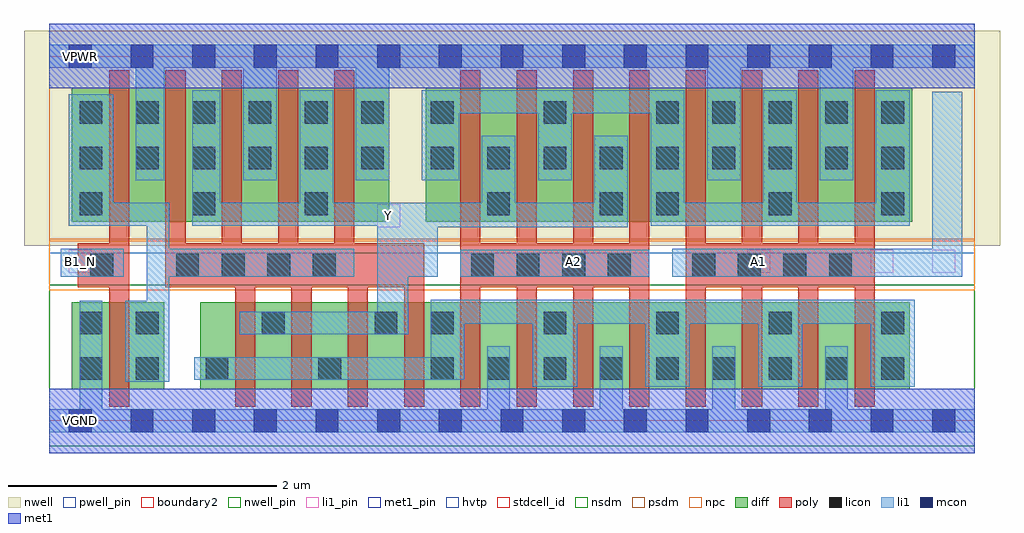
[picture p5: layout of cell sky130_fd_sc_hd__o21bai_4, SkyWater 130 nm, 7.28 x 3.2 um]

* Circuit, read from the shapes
.subckt sky130_fd_sc_hd__o21bai_4 A1 A2 B1_N VGND VNB VPB VPWR Y
XM1 n1 B1_N VGND VNB sky130_fd_pr__nfet_01v8 w=0.65 l=0.15
XM2 Y n1 n2 VNB sky130_fd_pr__nfet_01v8 w=0.65 l=0.15 m=4
XM3 VGND A2 n2 VNB sky130_fd_pr__nfet_01v8 w=0.65 l=0.15 m=4
XM4 VGND A1 n2 VNB sky130_fd_pr__nfet_01v8 w=0.65 l=0.15 m=4
XM5 VPWR B1_N n1 VPB sky130_fd_pr__pfet_01v8_hvt w=1 l=0.15
XM6 Y n1 VPWR VPB sky130_fd_pr__pfet_01v8_hvt w=1 l=0.15 m=4
XM7 Y A2 n3 VPB sky130_fd_pr__pfet_01v8_hvt w=1 l=0.15 m=4
XM8 VPWR A1 n3 VPB sky130_fd_pr__pfet_01v8_hvt w=1 l=0.15 m=4
.ends

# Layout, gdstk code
import gdstk
lib = gdstk.Library(unit=1e-6, precision=1e-09)
def R(c, l, rs):  # rectangles x0, y0, x1, y1
    for r in rs: c.add(gdstk.rectangle(r[:2], r[2:], *l))
def A(c, l, x, y, w, h, nx, ny, dx, dy):  # array of equal rectangles
    R(c, l, [(x+i*dx, y+j*dy, x+i*dx+w, y+j*dy+h) for i in range(nx) for j in range(ny)])
def P(c, l, *ps):  # polygons
    for p in ps: c.add(gdstk.Polygon(p, *l))
nwell_pin = (64, 16)
nwell = (64, 20)
diff = (65, 20)
poly = (66, 20)
licon = (66, 44)
li1_pin = (67, 16)
li1 = (67, 20)
mcon = (67, 44)
met1_pin = (68, 16)
met1 = (68, 20)
hvtp = (78, 44)
stdcell_id = (81, 4)
nsdm = (93, 44)
psdm = (94, 20)
npc = (95, 20)
pwell_pin = (122, 16)
boundary2 = (236, 0)

sky130_fd_sc_hd__o21bai_ = lib.new_cell('sky130_fd_sc_hd__o21bai_4')
R(sky130_fd_sc_hd__o21bai_, nwell_pin, [(0.145,2.635,0.315,2.805)])
R(sky130_fd_sc_hd__o21bai_, nwell, [(-0.19,1.305,7.09,2.91)])
R(sky130_fd_sc_hd__o21bai_, diff, [(0.165,0.235,0.855,0.885), (1.125,0.235,6.415,0.885), (0.165,1.485,2.535,2.485), (2.805,1.485,6.435,2.485)])
P(sky130_fd_sc_hd__o21bai_, poly, [(1.385,0.105),(1.385,0.995),(0.865,0.995),(0.865,2.615),(1.015,2.615),(1.015,1.325),(1.285,1.325),(1.285,2.615),(1.435,2.615),(1.435,1.325),(1.705,1.325),(1.705,2.615),(1.855,2.615),(1.855,1.325),(2.125,1.325),(2.125,2.615),(2.275,2.615),(2.275,1.325),(2.795,1.325),(2.795,0.105),(2.645,0.105),(2.645,0.995),(2.375,0.995),(2.375,0.105),(2.225,0.105),(2.225,0.995),(1.955,0.995),(1.955,0.105),(1.805,0.105),(1.805,0.995),(1.535,0.995),(1.535,0.105)],
  [(0.445,0.105),(0.445,0.995),(0.21,0.995),(0.21,1.325),(0.445,1.325),(0.445,2.615),(0.595,2.615),(0.595,0.105)],
  [(3.065,0.105),(3.065,2.615),(3.215,2.615),(3.215,1.325),(3.485,1.325),(3.485,2.615),(3.635,2.615),(3.635,1.325),(3.905,1.325),(3.905,2.615),(4.055,2.615),(4.055,1.325),(4.325,1.325),(4.325,2.615),(4.475,2.615),(4.475,0.105),(4.325,0.105),(4.325,0.995),(4.055,0.995),(4.055,0.105),(3.905,0.105),(3.905,0.995),(3.635,0.995),(3.635,0.105),(3.485,0.105),(3.485,0.995),(3.215,0.995),(3.215,0.105)],
  [(4.745,0.105),(4.745,2.615),(4.895,2.615),(4.895,1.325),(5.165,1.325),(5.165,2.615),(5.315,2.615),(5.315,1.325),(5.585,1.325),(5.585,2.615),(5.735,2.615),(5.735,1.325),(6.005,1.325),(6.005,2.615),(6.155,2.615),(6.155,0.105),(6.005,0.105),(6.005,0.995),(5.735,0.995),(5.735,0.105),(5.585,0.105),(5.585,0.995),(5.315,0.995),(5.315,0.105),(5.165,0.105),(5.165,0.995),(4.895,0.995),(4.895,0.105)])
A(sky130_fd_sc_hd__o21bai_, licon, 1.165, 0.305, 0.17, 0.17, 3, 1, 0.84, 0)
A(sky130_fd_sc_hd__o21bai_, licon, 3.265, 0.305, 0.17, 0.17, 8, 1, 0.42, 0)
A(sky130_fd_sc_hd__o21bai_, licon, 2.845, 0.645, 0.17, 0.17, 5, 1, 0.84, 0)
A(sky130_fd_sc_hd__o21bai_, licon, 0.945, 1.075, 0.17, 0.17, 4, 1, 0.34, 0)
A(sky130_fd_sc_hd__o21bai_, licon, 3.145, 1.075, 0.17, 0.17, 4, 1, 0.34, 0)
A(sky130_fd_sc_hd__o21bai_, licon, 4.795, 1.075, 0.17, 0.17, 4, 1, 0.34, 0)
A(sky130_fd_sc_hd__o21bai_, licon, 0.225, 1.535, 0.17, 0.17, 3, 1, 0.84, 0)
A(sky130_fd_sc_hd__o21bai_, licon, 4.525, 1.535, 0.17, 0.17, 3, 1, 0.84, 0)
A(sky130_fd_sc_hd__o21bai_, licon, 0.225, 1.875, 0.17, 0.17, 6, 2, 0.42, 0.34)
A(sky130_fd_sc_hd__o21bai_, licon, 2.845, 1.875, 0.17, 0.17, 9, 1, 0.42, 0)
A(sky130_fd_sc_hd__o21bai_, licon, 2.845, 2.215, 0.17, 0.17, 3, 1, 0.84, 0)
A(sky130_fd_sc_hd__o21bai_, licon, 4.945, 2.215, 0.17, 0.17, 4, 1, 0.42, 0)
R(sky130_fd_sc_hd__o21bai_, licon, [(0.225,0.305,0.395,0.475), (0.645,0.305,0.815,0.475), (0.225,0.645,0.395,0.815), (0.645,0.645,0.815,0.815), (1.585,0.645,1.755,0.815), (2.425,0.645,2.595,0.815), (0.305,1.075,0.475,1.245), (3.265,1.535,3.435,1.705), (4.105,1.535,4.275,1.705)])
R(sky130_fd_sc_hd__o21bai_, li1_pin, [(0.145,1.105,0.315,1.275), (3.825,1.105,3.995,1.275), (5.205,1.105,5.375,1.275), (6.125,1.105,6.295,1.275), (6.585,1.105,6.755,1.275), (2.445,1.445,2.615,1.615)])
R(sky130_fd_sc_hd__o21bai_, li1, [(0.085,1.075,0.555,1.285), (3.065,1.075,4.475,1.275)])
P(sky130_fd_sc_hd__o21bai_, li1, [(4.645,1.075),(4.645,1.285),(6.585,1.285),(6.585,2.455),(6.81,2.455),(6.81,1.075)],
  [(3.605,0.255),(3.605,0.725),(3.095,0.725),(3.095,0.305),(1.08,0.305),(1.08,0.475),(2.845,0.475),(2.845,0.905),(6.455,0.905),(6.455,0.255),(6.125,0.255),(6.125,0.725),(5.615,0.725),(5.615,0.255),(5.285,0.255),(5.285,0.725),(4.775,0.725),(4.775,0.255),(4.445,0.255),(4.445,0.725),(3.935,0.725),(3.935,0.255)],
  [(4.485,1.455),(4.485,2.295),(3.895,2.295),(3.895,1.795),(3.645,1.795),(3.645,2.295),(3.055,2.295),(3.055,1.795),(2.775,1.795),(2.775,2.465),(4.735,2.465),(4.735,1.625),(5.325,1.625),(5.325,2.465),(5.575,2.465),(5.575,1.625),(6.165,1.625),(6.165,2.465),(6.415,2.465),(6.415,1.455)],
  [(0,-0.085),(0,0.085),(0.225,0.085),(0.225,0.895),(0.395,0.895),(0.395,0.085),(3.265,0.085),(3.265,0.555),(3.435,0.555),(3.435,0.085),(4.105,0.085),(4.105,0.555),(4.275,0.555),(4.275,0.085),(4.945,0.085),(4.945,0.555),(5.115,0.555),(5.115,0.085),(5.785,0.085),(5.785,0.555),(5.955,0.555),(5.955,0.085),(6.9,0.085),(6.9,-0.085)],
  [(0.645,1.795),(0.645,2.635),(0,2.635),(0,2.805),(6.9,2.805),(6.9,2.635),(5.995,2.635),(5.995,1.795),(5.745,1.795),(5.745,2.635),(5.155,2.635),(5.155,1.795),(4.905,1.795),(4.905,2.635),(2.535,2.635),(2.535,1.795),(2.285,1.795),(2.285,2.635),(1.695,2.635),(1.695,1.795),(1.445,1.795),(1.445,2.635),(0.855,2.635),(0.855,1.795)],
  [(1.42,0.645),(1.42,0.815),(2.445,0.815),(2.445,1.455),(1.065,1.455),(1.065,2.465),(1.275,2.465),(1.275,1.625),(1.865,1.625),(1.865,2.465),(2.115,2.465),(2.115,1.625),(3.225,1.625),(3.225,2.125),(3.475,2.125),(3.475,1.625),(4.065,1.625),(4.065,2.125),(4.315,2.125),(4.315,1.445),(2.895,1.445),(2.895,1.075),(2.675,1.075),(2.675,0.645)],
  [(0.565,0.29),(0.565,0.895),(0.725,0.895),(0.725,1.455),(0.145,1.455),(0.145,2.435),(0.475,2.435),(0.475,1.625),(0.895,1.625),(0.895,1.285),(2.275,1.285),(2.275,1.075),(0.895,1.075),(0.895,0.29)])
A(sky130_fd_sc_hd__o21bai_, mcon, 0.145, -0.085, 0.17, 0.17, 15, 2, 0.46, 2.72)
R(sky130_fd_sc_hd__o21bai_, met1_pin, [(0.145,-0.085,0.315,0.085), (0.145,2.635,0.315,2.805)])
R(sky130_fd_sc_hd__o21bai_, hvtp, [(0,1.25,6.9,2.72)])
R(sky130_fd_sc_hd__o21bai_, stdcell_id, [(0,0,6.9,2.72)])
R(sky130_fd_sc_hd__o21bai_, nsdm, [(0,-0.19,6.9,1.015)])
R(sky130_fd_sc_hd__o21bai_, psdm, [(0,1.355,6.9,2.91)])
R(sky130_fd_sc_hd__o21bai_, npc, [(0,0.975,6.9,1.345)])
R(sky130_fd_sc_hd__o21bai_, pwell_pin, [(0.145,-0.085,0.315,0.085)])
R(sky130_fd_sc_hd__o21bai_, boundary2, [(0,0,6.9,2.72)])
sky130_fd_sc_hd__o21bai_.add(gdstk.FlexPath([(0,0),(6.9,0)], 0.48, ends="flush", simple_path=True, layer=68, datatype=20))  # met1
sky130_fd_sc_hd__o21bai_.add(gdstk.FlexPath([(0,2.72),(6.9,2.72)], 0.48, ends="flush", simple_path=True, layer=68, datatype=20))  # met1
sky130_fd_sc_hd__o21bai_.add(gdstk.Label('A2', (3.91,1.19), layer=67, texttype=5))
sky130_fd_sc_hd__o21bai_.add(gdstk.Label('A1', (5.29,1.19), layer=67, texttype=5))
sky130_fd_sc_hd__o21bai_.add(gdstk.Label('B1_N', (0.23,1.19), layer=67, texttype=5))
sky130_fd_sc_hd__o21bai_.add(gdstk.Label('Y', (2.53,1.53), layer=67, texttype=5))
sky130_fd_sc_hd__o21bai_.add(gdstk.Label('VPWR', (0.23,2.72), layer=68, texttype=5))
sky130_fd_sc_hd__o21bai_.add(gdstk.Label('VGND', (0.23,0), layer=68, texttype=5))
sky130_fd_sc_hd__o21bai_.add(gdstk.Label('o21bai_4', (0,0), layer=83, texttype=44))
sky130_fd_sc_hd__o21bai_.add(gdstk.Label('VPB', (0.23,2.72), layer=64, texttype=5))
sky130_fd_sc_hd__o21bai_.add(gdstk.Label('VNB', (0.23,0), layer=64, texttype=59))

lib.write_gds('sky130_fd_sc_hd__o21bai_4.gds')
